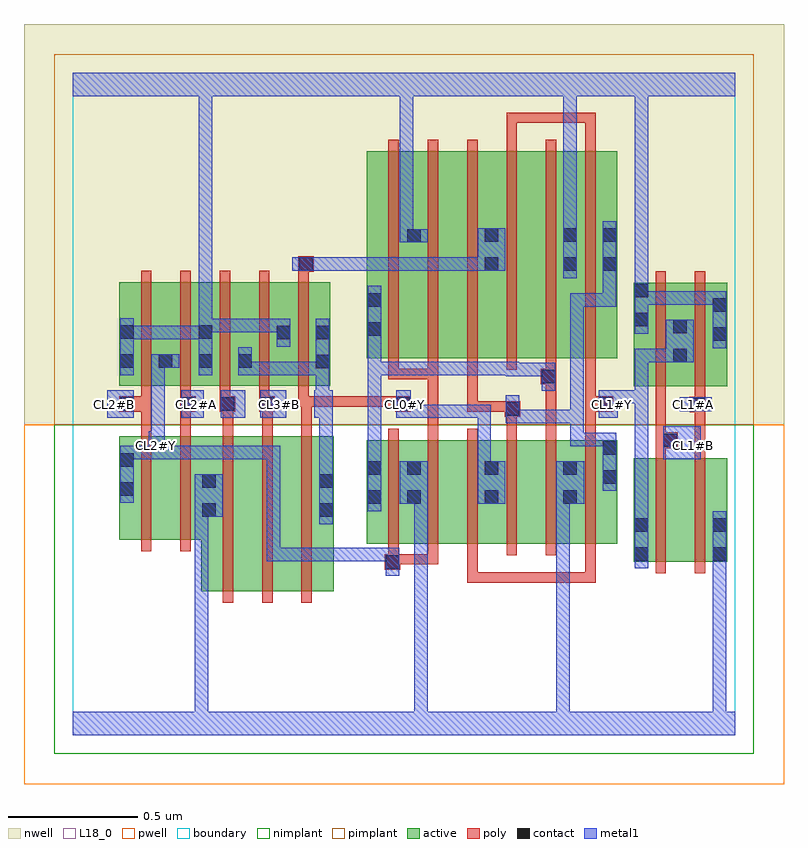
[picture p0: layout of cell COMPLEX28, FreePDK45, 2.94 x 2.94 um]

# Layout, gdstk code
import gdstk
lib = gdstk.Library(unit=1e-6, precision=1e-09)
def R(c, l, rs):  # rectangles x0, y0, x1, y1
    for r in rs: c.add(gdstk.rectangle(r[:2], r[2:], *l))
def A(c, l, x, y, w, h, nx, ny, dx, dy):  # array of equal rectangles
    R(c, l, [(x+i*dx, y+j*dy, x+i*dx+w, y+j*dy+h) for i in range(nx) for j in range(ny)])
active = (1, 0)
pwell = (2, 0)
nwell = (3, 0)
nimplant = (4, 0)
pimplant = (5, 0)
poly = (9, 0)
contact = (10, 0)
metal1 = (11, 0)
L18_0 = (18, 0)
boundary = (235, 0)

complex28 = lib.new_cell('COMPLEX28')
R(complex28, active, [(0.496,0.556,0.676,1.156), (0.496,0.556,0.556,1.012), (0.676,0.556,0.828,1.156), (0.828,0.556,1.008,1.156), (0.948,0.556,1.008,1.156), (2.168,0.67,2.228,1.07), (2.168,0.67,2.348,1.07), (2.348,0.67,2.528,1.07), (2.468,0.67,2.528,1.07), (1.136,0.74,1.196,1.14), (1.136,0.74,1.348,1.14), (1.288,0.74,1.348,1.14), (1.288,0.74,1.468,1.14), (1.468,0.74,1.648,1.14), (1.588,0.74,1.648,1.14), (1.588,0.74,1.772,1.14), (1.772,0.74,1.952,1.14), (1.892,0.74,1.952,1.14), (1.892,0.74,2.104,1.14), (2.044,0.74,2.104,1.14), (0.18,0.756,0.24,1.156), (0.18,0.756,0.36,1.156), (0.36,0.756,0.556,1.156), (2.168,1.348,2.228,1.748), (2.168,1.348,2.376,1.748), (2.316,1.348,2.528,1.748), (2.468,1.348,2.528,1.748), (0.18,1.35,0.388,1.75), (0.18,1.35,0.24,1.644), (0.328,1.35,0.388,1.75), (0.328,1.35,0.544,1.75), (0.484,1.35,0.696,1.75), (0.636,1.35,0.844,1.75), (0.784,1.35,0.996,1.75), (0.936,1.35,0.996,1.644), (0.484,1.416,0.544,1.644), (0.636,1.416,0.696,1.644), (2.316,1.438,2.376,1.644), (1.136,1.456,1.348,2.256), (1.136,1.456,1.196,2.044), (1.288,1.456,1.468,2.256), (1.468,1.456,1.648,2.256), (1.588,1.456,1.648,2.044), (1.588,1.456,1.772,2.256), (1.772,1.456,1.952,2.256), (1.892,1.456,2.104,2.256), (1.892,1.456,1.952,2.044), (2.044,1.456,2.104,2.256), (1.288,1.482,1.348,2.044), (0.784,1.526,0.844,1.644)])
R(complex28, pwell, [(-0.188,-0.188,2.748,1.2)])
R(complex28, nwell, [(-0.188,1.2,2.748,2.748)])
R(complex28, nimplant, [(-0.072,-0.072,2.632,1.2)])
R(complex28, pimplant, [(-0.072,1.2,2.632,2.632)])
A(complex28, poly, 0.58, 0.512, 0.04, 0.688, 3, 1, 0.152, 0)
A(complex28, poly, 1.22, 0.696, 0.04, 0.488, 6, 1, 0.152, 0)
A(complex28, poly, 0.416, 1.25, 0.06, 0.06, 3, 1, 0.152, 0)
A(complex28, poly, 0.264, 1.27, 0.04, 0.076, 5, 1, 0.152, 0)
A(complex28, poly, 0.264, 1.306, 0.04, 0.488, 5, 1, 0.152, 0)
A(complex28, poly, 1.22, 1.412, 0.04, 0.888, 6, 1, 0.152, 0)
R(complex28, poly, [(1.524,0.59,1.564,0.63), (1.524,0.59,1.564,0.63), (1.524,0.59,1.564,0.63), (1.524,0.59,1.564,0.736), (1.524,0.59,1.67,0.63), (1.63,0.59,1.67,0.63), (1.63,0.59,1.914,0.63), (1.874,0.59,1.914,0.63), (1.874,0.59,1.914,0.63), (1.874,0.59,1.914,0.63), (1.874,0.59,2.02,0.63), (1.98,0.59,2.02,0.63), (1.98,0.59,2.02,0.63), (1.98,0.59,2.02,0.63), (1.98,0.59,2.02,0.736), (2.252,0.626,2.292,1.114), (2.404,0.626,2.444,1.114), (1.206,0.64,1.266,0.7), (1.22,0.66,1.26,0.736), (1.226,0.66,1.412,0.7), (1.372,0.66,1.412,0.736), (1.372,0.66,1.412,0.7), (1.372,0.66,1.412,0.7), (1.372,0.66,1.412,0.7), (0.264,0.712,0.304,1.2), (0.416,0.712,0.456,1.2), (2.252,1.074,2.292,1.15), (2.404,1.074,2.444,1.288), (2.252,1.11,2.338,1.17), (2.252,1.13,2.292,1.17), (2.252,1.13,2.292,1.17), (2.252,1.13,2.292,1.344), (1.372,1.144,1.412,1.416), (1.676,1.144,1.716,1.27), (1.828,1.144,1.868,1.396), (1.98,1.144,2.02,1.29), (0.264,1.16,0.304,1.29), (0.416,1.16,0.456,1.29), (0.58,1.16,0.62,1.29), (0.732,1.16,0.772,1.29), (0.884,1.16,0.924,1.31), (1.67,1.23,1.73,1.29), (2.384,1.248,2.444,1.308), (2.404,1.248,2.444,1.288), (2.404,1.248,2.444,1.288), (0.18,1.25,0.304,1.31), (0.416,1.25,0.456,1.29), (0.416,1.25,0.456,1.29), (0.58,1.25,0.62,1.29), (0.58,1.25,0.62,1.29), (0.732,1.25,0.772,1.29), (0.732,1.25,0.772,1.29), (1.246,1.25,1.306,1.31), (1.524,1.25,1.564,1.29), (1.524,1.25,1.564,1.29), (1.524,1.25,1.564,1.29), (1.524,1.25,1.564,1.29), (1.524,1.25,1.564,1.29), (1.524,1.25,1.71,1.29), (1.524,1.25,1.564,1.452), (1.98,1.25,2.088,1.31), (2.404,1.268,2.444,1.344), (0.264,1.27,0.304,1.31), (0.264,1.27,0.304,1.31), (0.872,1.27,0.924,1.31), (0.884,1.27,0.924,1.31), (0.884,1.27,0.924,1.31), (0.884,1.27,0.924,1.31), (0.884,1.27,0.924,1.31), (0.884,1.27,1.286,1.31), (1.246,1.27,1.286,1.31), (1.246,1.27,1.286,1.31), (1.98,1.27,2.02,1.31), (1.98,1.27,2.02,1.31), (1.98,1.27,2.02,1.452), (2.252,1.304,2.292,1.792), (2.404,1.304,2.444,1.792), (1.808,1.356,1.868,1.416), (1.828,1.356,1.868,1.396), (1.828,1.356,1.868,1.396), (1.22,1.376,1.26,1.452), (1.22,1.376,1.26,1.416), (1.22,1.376,1.412,1.416), (1.372,1.376,1.412,1.452), (1.372,1.376,1.412,1.416), (1.372,1.376,1.412,1.416), (1.372,1.376,1.412,1.416), (1.372,1.376,1.412,1.416), (1.372,1.376,1.412,1.416), (1.828,1.376,1.868,1.452), (0.872,1.754,0.912,1.83), (0.872,1.79,0.932,1.85), (1.676,2.26,1.716,2.406), (1.98,2.26,2.02,2.406), (1.676,2.366,1.716,2.406), (1.676,2.366,1.716,2.406), (1.676,2.366,1.716,2.406), (1.676,2.366,1.914,2.406), (1.874,2.366,1.914,2.406), (1.874,2.366,2.02,2.406), (1.98,2.366,2.02,2.406), (1.98,2.366,2.02,2.406), (1.98,2.366,2.02,2.406)])
A(complex28, contact, 0.42, 1.254, 0.052, 0.052, 3, 1, 0.152, 0)
R(complex28, contact, [(1.21,0.644,1.262,0.696), (2.172,0.674,2.224,0.726), (2.472,0.674,2.524,0.726), (2.172,0.786,2.224,0.838), (2.472,0.786,2.524,0.838), (0.5,0.844,0.552,0.896), (0.952,0.844,1.004,0.896), (1.14,0.894,1.192,0.946), (1.292,0.894,1.344,0.946), (1.592,0.894,1.644,0.946), (1.896,0.894,1.948,0.946), (0.184,0.926,0.236,0.978), (0.5,0.956,0.552,1.008), (0.952,0.956,1.004,1.008), (2.048,0.972,2.1,1.024), (1.14,1.006,1.192,1.058), (1.292,1.006,1.344,1.058), (1.592,1.006,1.644,1.058), (1.896,1.006,1.948,1.058), (0.184,1.038,0.236,1.09), (2.048,1.084,2.1,1.136), (2.282,1.114,2.334,1.166), (1.674,1.234,1.726,1.286), (2.388,1.252,2.44,1.304), (0.184,1.254,0.236,1.306), (1.25,1.254,1.302,1.306), (2.032,1.254,2.084,1.306), (1.812,1.36,1.864,1.412), (0.94,1.418,0.992,1.47), (0.184,1.42,0.236,1.472), (0.332,1.42,0.384,1.472), (0.488,1.42,0.54,1.472), (0.64,1.42,0.692,1.472), (2.32,1.442,2.372,1.494), (2.472,1.524,2.524,1.576), (0.788,1.53,0.84,1.582), (0.94,1.53,0.992,1.582), (0.184,1.532,0.236,1.584), (0.488,1.532,0.54,1.584), (1.14,1.544,1.192,1.596), (2.32,1.554,2.372,1.606), (2.172,1.58,2.224,1.632), (2.472,1.636,2.524,1.688), (1.14,1.656,1.192,1.708), (2.172,1.692,2.224,1.744), (0.876,1.794,0.928,1.846), (1.592,1.794,1.644,1.846), (1.896,1.794,1.948,1.846), (2.048,1.794,2.1,1.846), (1.292,1.904,1.344,1.956), (1.592,1.906,1.644,1.958), (1.896,1.906,1.948,1.958), (2.048,1.906,2.1,1.958)])
R(complex28, metal1, [(0,0,2.56,0.092), (0.472,0.04,0.524,0.092), (0.472,0.04,0.524,0.092), (0.472,0.04,0.524,0.092), (0.472,0.04,0.524,0.092), (0.472,0.04,0.524,0.092), (0.472,0.04,0.524,0.092), (0.472,0.04,0.524,0.092), (0.472,0.04,0.524,0.092), (0.472,0.04,0.524,0.896), (1.32,0.04,1.372,0.092), (1.32,0.04,1.372,0.092), (1.32,0.04,1.372,0.092), (1.32,0.04,1.372,0.092), (1.32,0.04,1.372,0.092), (1.32,0.04,1.372,0.092), (1.32,0.04,1.372,0.092), (1.32,0.04,1.372,0.092), (1.32,0.04,1.372,0.092), (1.32,0.04,1.372,0.092), (1.32,0.04,1.372,0.092), (1.32,0.04,1.372,0.092), (1.32,0.04,1.372,0.946), (1.868,0.04,1.92,0.092), (1.868,0.04,1.92,0.092), (1.868,0.04,1.92,0.092), (1.868,0.04,1.92,0.092), (1.868,0.04,1.92,0.092), (1.868,0.04,1.92,0.092), (1.868,0.04,1.92,0.092), (1.868,0.04,1.92,0.092), (1.868,0.04,1.92,0.092), (1.868,0.04,1.92,0.092), (1.868,0.04,1.92,0.092), (1.868,0.04,1.92,0.092), (1.868,0.04,1.92,0.946), (2.472,0.04,2.524,0.092), (2.472,0.04,2.524,0.092), (2.472,0.04,2.524,0.698), (1.21,0.616,1.262,0.724), (2.172,0.646,2.224,0.866), (2.472,0.646,2.524,0.866), (2.472,0.646,2.524,0.698), (2.472,0.646,2.524,0.698), (2.472,0.646,2.524,0.698), (2.472,0.646,2.524,0.698), (2.472,0.646,2.524,0.698), (2.472,0.646,2.524,0.698), (2.472,0.646,2.524,0.698), (2.472,0.646,2.524,0.698), (2.472,0.646,2.524,0.698), (2.472,0.646,2.524,0.698), (0.75,0.672,0.802,0.724), (0.75,0.672,0.802,0.724), (0.75,0.672,0.802,0.724), (0.75,0.672,1.066,0.724), (0.75,0.672,0.802,1.118), (1.014,0.672,1.066,0.724), (1.014,0.672,1.066,0.724), (1.014,0.672,1.066,0.724), (1.014,0.672,1.066,0.724), (1.014,0.672,1.066,0.724), (1.014,0.672,1.066,0.724), (1.014,0.672,1.066,0.724), (1.014,0.672,1.066,0.724), (1.014,0.672,1.066,0.724), (1.014,0.672,1.262,0.724), (2.172,0.814,2.224,1.334), (0.952,0.816,1.004,1.036), (0.472,0.844,0.58,1.008), (1.14,0.866,1.192,1.086), (1.264,0.894,1.372,1.058), (1.564,0.894,1.672,1.058), (1.868,0.894,1.976,1.058), (0.184,0.898,0.236,1.118), (2.048,0.944,2.1,1.164), (0.952,0.984,1.004,1.278), (1.564,1.006,1.616,1.278), (1.14,1.034,1.192,1.444), (0.184,1.066,0.236,1.118), (0.184,1.066,0.236,1.118), (0.184,1.066,0.356,1.118), (0.294,1.066,0.356,1.174), (0.304,1.066,0.356,1.118), (0.304,1.066,0.356,1.118), (0.304,1.066,0.356,1.118), (0.304,1.066,0.356,1.118), (0.304,1.066,0.356,1.118), (0.304,1.066,0.356,1.118), (0.304,1.066,0.58,1.118), (0.528,1.066,0.69,1.118), (0.528,1.066,0.58,1.118), (0.528,1.066,0.58,1.118), (0.528,1.066,0.58,1.118), (0.638,1.066,0.69,1.118), (0.638,1.066,0.69,1.118), (0.638,1.066,0.69,1.118), (0.638,1.066,0.802,1.118), (0.75,1.066,0.802,1.118), (2.282,1.066,2.426,1.194), (2.048,1.112,2.1,1.164), (2.048,1.112,2.1,1.168), (1.922,1.116,1.974,1.168), (1.922,1.116,2.1,1.168), (1.922,1.116,1.974,1.258), (0.304,1.122,0.356,1.472), (1.674,1.206,1.726,1.258), (1.674,1.206,1.726,1.258), (1.674,1.206,1.726,1.314), (1.674,1.206,1.974,1.258), (1.922,1.206,1.974,1.258), (1.922,1.206,1.974,1.258), (1.922,1.206,1.974,1.258), (1.922,1.206,1.974,1.708), (0.134,1.226,0.236,1.334), (0.42,1.226,0.506,1.334), (0.572,1.226,0.666,1.334), (0.724,1.226,0.826,1.334), (0.934,1.226,1.004,1.334), (1.25,1.226,1.306,1.334), (1.254,1.226,1.306,1.278), (1.254,1.226,1.306,1.278), (1.254,1.226,1.506,1.278), (1.454,1.226,1.616,1.278), (1.454,1.226,1.506,1.278), (1.454,1.226,1.506,1.278), (1.454,1.226,1.506,1.278), (1.564,1.226,1.616,1.278), (1.564,1.226,1.616,1.278), (1.564,1.226,1.616,1.278), (2.032,1.226,2.106,1.334), (2.346,1.252,2.468,1.306), (0.94,1.282,0.992,1.334), (0.94,1.282,0.992,1.334), (0.94,1.282,0.992,1.442), (2.054,1.282,2.106,1.334), (2.054,1.282,2.106,1.334), (2.054,1.282,2.224,1.334), (2.172,1.282,2.224,1.334), (2.172,1.282,2.224,1.494), (1.812,1.332,1.864,1.44), (1.674,1.388,1.726,1.444), (1.674,1.388,1.864,1.44), (0.94,1.39,0.992,1.61), (0.184,1.392,0.236,1.612), (0.488,1.392,0.54,1.612), (0.64,1.392,0.802,1.444), (0.64,1.392,0.692,1.444), (0.64,1.392,0.692,1.444), (0.64,1.392,0.692,1.5), (0.75,1.392,0.802,1.444), (0.75,1.392,0.802,1.444), (0.75,1.392,0.802,1.444), (0.75,1.392,0.992,1.444), (1.14,1.392,1.302,1.444), (1.14,1.392,1.192,1.444), (1.14,1.392,1.192,1.444), (1.14,1.392,1.192,1.444), (1.14,1.392,1.192,1.444), (1.14,1.392,1.192,1.444), (1.14,1.392,1.192,1.568), (1.25,1.392,1.302,1.444), (1.25,1.392,1.426,1.444), (1.374,1.392,1.426,1.444), (1.374,1.392,1.426,1.444), (1.374,1.392,1.426,1.444), (1.374,1.392,1.616,1.444), (1.564,1.392,1.726,1.444), (1.564,1.392,1.616,1.444), (1.564,1.392,1.616,1.444), (1.564,1.392,1.616,1.444), (1.674,1.392,1.726,1.444), (1.674,1.392,1.726,1.444), (0.304,1.42,0.412,1.472), (2.172,1.442,2.224,1.494), (2.172,1.442,2.224,1.494), (2.172,1.442,2.224,1.494), (2.172,1.442,2.224,1.494), (2.172,1.442,2.224,1.494), (2.172,1.442,2.344,1.494), (2.292,1.442,2.4,1.606), (2.472,1.496,2.524,1.716), (0.788,1.502,0.84,1.61), (1.14,1.516,1.192,1.736), (0.184,1.53,0.236,1.582), (0.184,1.53,0.236,1.582), (0.184,1.53,0.414,1.582), (0.362,1.53,0.414,1.582), (0.362,1.53,0.414,1.582), (0.362,1.53,0.414,1.582), (0.362,1.53,0.54,1.582), (2.172,1.552,2.224,1.772), (0.488,1.558,0.54,1.61), (0.488,1.558,0.54,1.61), (0.488,1.558,0.69,1.61), (0.638,1.558,0.69,1.61), (0.638,1.558,0.69,1.61), (0.638,1.558,0.69,1.61), (0.638,1.558,0.84,1.61), (0.488,1.56,0.54,1.612), (0.488,1.56,0.54,1.612), (0.488,1.56,0.54,2.52), (1.922,1.656,1.974,1.708), (1.922,1.656,2.1,1.708), (2.048,1.656,2.1,1.708), (2.048,1.656,2.1,1.708), (2.048,1.656,2.1,1.708), (2.048,1.656,2.1,1.818), (2.172,1.664,2.224,1.716), (2.172,1.664,2.224,1.716), (2.172,1.664,2.414,1.716), (2.362,1.664,2.524,1.716), (2.362,1.664,2.414,1.716), (2.362,1.664,2.414,1.716), (2.362,1.664,2.414,1.716), (2.172,1.72,2.224,1.772), (2.172,1.72,2.224,1.772), (2.172,1.72,2.224,1.772), (2.172,1.72,2.224,1.772), (2.172,1.72,2.224,2.52), (1.896,1.766,1.948,1.986), (2.048,1.766,2.1,1.986), (0.848,1.794,0.956,1.846), (0.904,1.794,1.082,1.846), (1.03,1.794,1.082,1.846), (1.03,1.794,1.082,1.846), (1.03,1.794,1.082,1.846), (1.03,1.794,1.302,1.846), (1.25,1.794,1.302,1.846), (1.25,1.794,1.302,1.846), (1.25,1.794,1.302,1.846), (1.25,1.794,1.506,1.846), (1.454,1.794,1.616,1.846), (1.454,1.794,1.506,1.846), (1.454,1.794,1.506,1.846), (1.454,1.794,1.506,1.846), (1.564,1.794,1.616,1.846), (1.564,1.794,1.616,1.846), (1.564,1.794,1.672,1.958), (1.264,1.904,1.316,1.956), (1.264,1.904,1.316,1.956), (1.264,1.904,1.316,1.956), (1.264,1.904,1.316,1.956), (1.264,1.904,1.316,2.52), (1.264,1.904,1.372,1.956), (1.896,1.934,1.948,2.52), (0,2.468,2.56,2.56), (0.488,2.468,0.54,2.52), (0.488,2.468,0.54,2.52), (0.488,2.468,0.54,2.52), (0.488,2.468,0.54,2.52), (0.488,2.468,0.54,2.52), (0.488,2.468,0.54,2.52), (0.488,2.468,0.54,2.52), (0.488,2.468,0.54,2.52), (0.488,2.468,0.54,2.52), (0.488,2.468,0.54,2.52), (0.488,2.468,0.54,2.52), (0.488,2.468,0.54,2.52), (0.488,2.468,0.54,2.52), (0.488,2.468,0.54,2.52), (1.264,2.468,1.316,2.52), (1.264,2.468,1.316,2.52), (1.264,2.468,1.316,2.52), (1.264,2.468,1.316,2.52), (1.896,2.468,1.948,2.52), (1.896,2.468,1.948,2.52), (1.896,2.468,1.948,2.52), (1.896,2.468,1.948,2.52), (1.896,2.468,1.948,2.52), (1.896,2.468,1.948,2.52), (1.896,2.468,1.948,2.52), (1.896,2.468,1.948,2.52), (2.172,2.468,2.224,2.52), (2.172,2.468,2.224,2.52), (2.172,2.468,2.224,2.52), (2.172,2.468,2.224,2.52), (2.172,2.468,2.224,2.52), (2.172,2.468,2.224,2.52), (2.172,2.468,2.224,2.52), (2.172,2.468,2.224,2.52), (2.172,2.468,2.224,2.52), (2.172,2.468,2.224,2.52), (2.172,2.468,2.224,2.52), (2.172,2.468,2.224,2.52)])
A(complex28, L18_0, 0.454, 1.254, 0.052, 0.052, 4, 1, 0.16, 0)
R(complex28, L18_0, [(0,0,2.56,0.092), (0.472,0.04,0.524,0.092), (0.472,0.04,0.524,0.092), (0.472,0.04,0.524,0.092), (0.472,0.04,0.524,0.092), (0.472,0.04,0.524,0.092), (0.472,0.04,0.524,0.092), (0.472,0.04,0.524,0.092), (0.472,0.04,0.524,0.092), (0.472,0.04,0.524,0.896), (1.32,0.04,1.372,0.092), (1.32,0.04,1.372,0.092), (1.32,0.04,1.372,0.092), (1.32,0.04,1.372,0.092), (1.32,0.04,1.372,0.092), (1.32,0.04,1.372,0.092), (1.32,0.04,1.372,0.092), (1.32,0.04,1.372,0.092), (1.32,0.04,1.372,0.092), (1.32,0.04,1.372,0.092), (1.32,0.04,1.372,0.092), (1.32,0.04,1.372,0.092), (1.32,0.04,1.372,0.946), (1.868,0.04,1.92,0.092), (1.868,0.04,1.92,0.092), (1.868,0.04,1.92,0.092), (1.868,0.04,1.92,0.092), (1.868,0.04,1.92,0.092), (1.868,0.04,1.92,0.092), (1.868,0.04,1.92,0.092), (1.868,0.04,1.92,0.092), (1.868,0.04,1.92,0.092), (1.868,0.04,1.92,0.092), (1.868,0.04,1.92,0.092), (1.868,0.04,1.92,0.092), (1.868,0.04,1.92,0.946), (2.472,0.04,2.524,0.092), (2.472,0.04,2.524,0.092), (2.472,0.04,2.524,0.698), (1.21,0.616,1.262,0.724), (2.172,0.646,2.224,0.866), (2.472,0.646,2.524,0.866), (2.472,0.646,2.524,0.698), (2.472,0.646,2.524,0.698), (2.472,0.646,2.524,0.698), (2.472,0.646,2.524,0.698), (2.472,0.646,2.524,0.698), (2.472,0.646,2.524,0.698), (2.472,0.646,2.524,0.698), (2.472,0.646,2.524,0.698), (2.472,0.646,2.524,0.698), (2.472,0.646,2.524,0.698), (0.75,0.672,0.802,0.724), (0.75,0.672,0.802,0.724), (0.75,0.672,0.802,0.724), (0.75,0.672,0.802,1.118), (0.75,0.672,1.066,0.724), (1.014,0.672,1.066,0.724), (1.014,0.672,1.066,0.724), (1.014,0.672,1.066,0.724), (1.014,0.672,1.066,0.724), (1.014,0.672,1.066,0.724), (1.014,0.672,1.066,0.724), (1.014,0.672,1.066,0.724), (1.014,0.672,1.066,0.724), (1.014,0.672,1.066,0.724), (1.014,0.672,1.262,0.724), (2.172,0.814,2.224,1.334), (0.952,0.816,1.004,1.036), (0.472,0.844,0.58,1.008), (1.264,0.894,1.372,1.058), (1.564,0.894,1.672,1.058), (1.868,0.894,1.976,1.058), (0.184,0.898,0.236,1.118), (0.952,0.984,1.004,1.278), (1.564,1.006,1.616,1.278), (0.184,1.066,0.236,1.118), (0.184,1.066,0.236,1.118), (0.184,1.066,0.356,1.118), (0.294,1.066,0.356,1.174), (0.304,1.066,0.356,1.118), (0.304,1.066,0.356,1.118), (0.304,1.066,0.356,1.118), (0.304,1.066,0.356,1.118), (0.304,1.066,0.356,1.118), (0.304,1.066,0.356,1.118), (0.304,1.066,0.58,1.118), (0.528,1.066,0.58,1.118), (0.528,1.066,0.58,1.118), (0.528,1.066,0.58,1.118), (0.528,1.066,0.69,1.118), (0.638,1.066,0.69,1.118), (0.638,1.066,0.69,1.118), (0.638,1.066,0.69,1.118), (0.638,1.066,0.802,1.118), (0.75,1.066,0.802,1.118), (2.282,1.066,2.426,1.194), (0.294,1.094,0.346,1.146), (2.374,1.094,2.426,1.146), (0.304,1.122,0.356,1.472), (0.134,1.226,0.236,1.334), (0.42,1.226,0.506,1.334), (0.572,1.226,0.666,1.334), (0.724,1.226,0.826,1.334), (0.934,1.226,1.004,1.334), (1.25,1.226,1.306,1.334), (1.254,1.226,1.306,1.278), (1.254,1.226,1.306,1.278), (1.254,1.226,1.506,1.278), (1.454,1.226,1.506,1.278), (1.454,1.226,1.506,1.278), (1.454,1.226,1.506,1.278), (1.454,1.226,1.616,1.278), (1.564,1.226,1.616,1.278), (1.564,1.226,1.616,1.278), (1.564,1.226,1.616,1.278), (2.032,1.226,2.106,1.334), (2.346,1.252,2.468,1.306), (0.134,1.254,0.186,1.306), (1.254,1.254,1.306,1.306), (2.054,1.254,2.106,1.306), (2.374,1.254,2.426,1.306), (0.94,1.282,0.992,1.334), (0.94,1.282,0.992,1.334), (0.94,1.282,0.992,1.442), (2.054,1.282,2.106,1.334), (2.054,1.282,2.106,1.334), (2.054,1.282,2.224,1.334), (2.172,1.282,2.224,1.334), (2.172,1.282,2.224,1.494), (0.94,1.39,0.992,1.61), (0.184,1.392,0.236,1.612), (0.488,1.392,0.54,1.612), (0.64,1.392,0.692,1.444), (0.64,1.392,0.692,1.444), (0.64,1.392,0.802,1.444), (0.64,1.392,0.692,1.5), (0.75,1.392,0.802,1.444), (0.75,1.392,0.802,1.444), (0.75,1.392,0.802,1.444), (0.75,1.392,0.992,1.444), (0.304,1.42,0.412,1.472), (2.172,1.442,2.224,1.494), (2.172,1.442,2.224,1.494), (2.172,1.442,2.224,1.494), (2.172,1.442,2.224,1.494), (2.172,1.442,2.224,1.494), (2.172,1.442,2.344,1.494), (2.292,1.442,2.4,1.606), (2.472,1.496,2.524,1.716), (0.788,1.502,0.84,1.61), (0.184,1.53,0.236,1.582), (0.184,1.53,0.236,1.582), (0.184,1.53,0.414,1.582), (0.362,1.53,0.414,1.582), (0.362,1.53,0.414,1.582), (0.362,1.53,0.414,1.582), (0.362,1.53,0.54,1.582), (2.172,1.552,2.224,1.772), (0.488,1.558,0.54,1.61), (0.488,1.558,0.54,1.61), (0.488,1.558,0.69,1.61), (0.638,1.558,0.69,1.61), (0.638,1.558,0.69,1.61), (0.638,1.558,0.69,1.61), (0.638,1.558,0.84,1.61), (0.488,1.56,0.54,1.612), (0.488,1.56,0.54,1.612), (0.488,1.56,0.54,2.52), (2.172,1.664,2.224,1.716), (2.172,1.664,2.224,1.716), (2.172,1.664,2.414,1.716), (2.362,1.664,2.414,1.716), (2.362,1.664,2.414,1.716), (2.362,1.664,2.414,1.716), (2.362,1.664,2.524,1.716), (2.172,1.72,2.224,1.772), (2.172,1.72,2.224,1.772), (2.172,1.72,2.224,1.772), (2.172,1.72,2.224,1.772), (2.172,1.72,2.224,2.52), (1.896,1.766,1.948,1.986), (0.848,1.794,0.956,1.846), (0.904,1.794,1.082,1.846), (1.03,1.794,1.082,1.846), (1.03,1.794,1.082,1.846), (1.03,1.794,1.082,1.846), (1.03,1.794,1.302,1.846), (1.25,1.794,1.302,1.846), (1.25,1.794,1.302,1.846), (1.25,1.794,1.302,1.846), (1.25,1.794,1.506,1.846), (1.454,1.794,1.506,1.846), (1.454,1.794,1.506,1.846), (1.454,1.794,1.506,1.846), (1.454,1.794,1.616,1.846), (1.564,1.794,1.616,1.846), (1.564,1.794,1.616,1.846), (1.564,1.794,1.672,1.958), (1.264,1.904,1.316,1.956), (1.264,1.904,1.316,1.956), (1.264,1.904,1.316,1.956), (1.264,1.904,1.316,1.956), (1.264,1.904,1.372,1.956), (1.264,1.904,1.316,2.52), (1.896,1.934,1.948,2.52), (0,2.468,2.56,2.56), (0.488,2.468,0.54,2.52), (0.488,2.468,0.54,2.52), (0.488,2.468,0.54,2.52), (0.488,2.468,0.54,2.52), (0.488,2.468,0.54,2.52), (0.488,2.468,0.54,2.52), (0.488,2.468,0.54,2.52), (0.488,2.468,0.54,2.52), (0.488,2.468,0.54,2.52), (0.488,2.468,0.54,2.52), (0.488,2.468,0.54,2.52), (0.488,2.468,0.54,2.52), (0.488,2.468,0.54,2.52), (0.488,2.468,0.54,2.52), (1.264,2.468,1.316,2.52), (1.264,2.468,1.316,2.52), (1.264,2.468,1.316,2.52), (1.264,2.468,1.316,2.52), (1.896,2.468,1.948,2.52), (1.896,2.468,1.948,2.52), (1.896,2.468,1.948,2.52), (1.896,2.468,1.948,2.52), (1.896,2.468,1.948,2.52), (1.896,2.468,1.948,2.52), (1.896,2.468,1.948,2.52), (1.896,2.468,1.948,2.52), (2.172,2.468,2.224,2.52), (2.172,2.468,2.224,2.52), (2.172,2.468,2.224,2.52), (2.172,2.468,2.224,2.52), (2.172,2.468,2.224,2.52), (2.172,2.468,2.224,2.52), (2.172,2.468,2.224,2.52), (2.172,2.468,2.224,2.52), (2.172,2.468,2.224,2.52), (2.172,2.468,2.224,2.52), (2.172,2.468,2.224,2.52), (2.172,2.468,2.224,2.52)])
R(complex28, boundary, [(0,0,2.56,2.56)])
complex28.add(gdstk.Label('CL0#Y', (1.28,1.28), layer=11, texttype=0))
complex28.add(gdstk.Label('CL1#A', (2.4,1.28), layer=11, texttype=0))
complex28.add(gdstk.Label('CL1#B', (2.4,1.12), layer=11, texttype=0))
complex28.add(gdstk.Label('CL1#Y', (2.08,1.28), layer=11, texttype=0))
complex28.add(gdstk.Label('CL2#A', (0.48,1.28), layer=11, texttype=0))
complex28.add(gdstk.Label('CL2#B', (0.16,1.28), layer=11, texttype=0))
complex28.add(gdstk.Label('CL2#Y', (0.32,1.12), layer=11, texttype=0))
complex28.add(gdstk.Label('CL3#A', (0.64,1.28), layer=11, texttype=0))
complex28.add(gdstk.Label('CL3#B', (0.8,1.28), layer=11, texttype=0))
complex28.add(gdstk.Label('CL3#Y', (0.96,1.28), layer=11, texttype=0))

lib.write_gds('COMPLEX28.gds')
